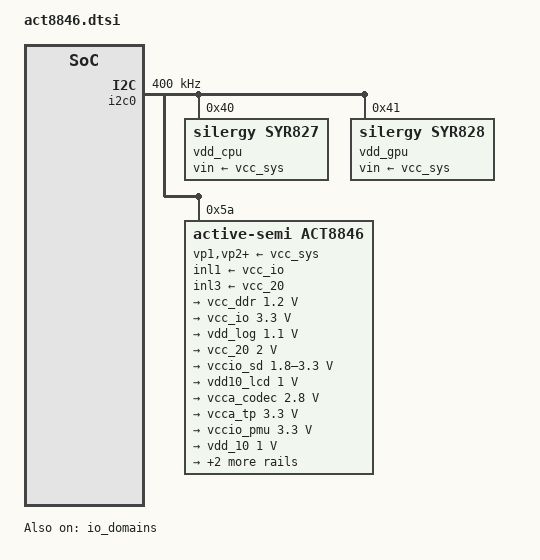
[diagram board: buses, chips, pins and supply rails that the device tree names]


&i2c0 {
        clock-frequency = <400000>;
        status = "okay";

        vdd_cpu: syr827@40 {
                compatible = "silergy,syr827";
                fcs,suspend-voltage-selector = <1>;
                reg = <0x40>;
                regulator-name = "vdd_cpu";
                regulator-min-microvolt = <850000>;
                regulator-max-microvolt = <1350000>;
                regulator-always-on;
                regulator-boot-on;
                regulator-enable-ramp-delay = <300>;
                regulator-ramp-delay = <8000>;
                vin-supply = <&vcc_sys>;
                regulator-state-mem {
                        regulator-off-in-suspend;
                };
        };

        vdd_gpu: syr828@41 {
                compatible = "silergy,syr828";
                fcs,suspend-voltage-selector = <1>;
                reg = <0x41>;
                regulator-name = "vdd_gpu";
                regulator-min-microvolt = <850000>;
                regulator-max-microvolt = <1350000>;
                regulator-always-on;
                regulator-ramp-delay = <6000>;
                vin-supply = <&vcc_sys>;
                regulator-state-mem {
                        regulator-off-in-suspend;
                };
        };
        act8846: act8846@5a {
                compatible = "active-semi,act8846";
                reg = <0x5a>;
                status = "okay";
                pinctrl-names = "default";
                //pinctrl-0 = <&pmic_vsel>, <&pmic_sleep>, <&pwr_hold>;
                pinctrl-0 = <&pmic_vsel>, <&pwr_hold>;
                system-power-controller;

                vp1-supply = <&vcc_sys>;
                vp2-supply = <&vcc_sys>;
                vp3-supply = <&vcc_sys>;
                vp4-supply = <&vcc_sys>;
                inl1-supply = <&vcc_io>;
                inl2-supply = <&vcc_sys>;
                inl3-supply = <&vcc_20>;

                regulators {
                        vcc_ddr: REG1 {
                                regulator-name = "VCC_DDR";
                                regulator-min-microvolt = <1200000>;
                                regulator-max-microvolt = <1200000>;
                                regulator-always-on;
                        };

                        vcc_io: REG2 {
                                regulator-name = "VCC_IO";
                                regulator-min-microvolt = <3300000>;
                                regulator-max-microvolt = <3300000>;
                                regulator-always-on;
                        };

                        vdd_log: REG3 {
                                regulator-name = "VDD_LOG";
                                regulator-min-microvolt = <1100000>;
                                regulator-max-microvolt = <1100000>;
                                regulator-always-on;
                        };

                        vcc_20: REG4 {
                                regulator-name = "VCC_20";
                                regulator-min-microvolt = <2000000>;
                                regulator-max-microvolt = <2000000>;
                                regulator-always-on;
                        };

                        vccio_sd: REG5 {
                                regulator-name = "VCCIO_SD";
                                regulator-min-microvolt = <1800000>;
                                regulator-max-microvolt = <3300000>;
                                regulator-always-on;
                        };

                        vdd10_lcd: REG6 {
                                regulator-name = "VDD10_LCD";
                                regulator-min-microvolt = <1000000>;
                                regulator-max-microvolt = <1000000>;
                                regulator-always-on;
                        };

                        vcca_codec: REG7 {
                                regulator-name = "VCCA_CODEC";
                                //regulator-min-microvolt = <1800000>;
                                //regulator-max-microvolt = <1800000>;
                                regulator-min-microvolt = <2800000>;
                                regulator-max-microvolt = <2800000>;
                                //regulator-max-microvolt = <3300000>;
                        };
                        vcca_tp: REG8 {
                                regulator-name = "VCCA_TP";
                                regulator-min-microvolt = <3300000>;
                                regulator-max-microvolt = <3300000>;
                                regulator-always-on;
                        };

                        vccio_pmu: REG9 {
                                regulator-name = "VCCIO_PMU";
                                regulator-min-microvolt = <3300000>;
                                regulator-max-microvolt = <3300000>;
                                regulator-always-on;
                        };

                        vdd_10: REG10 {
                                regulator-name = "VDD_10";
                                regulator-min-microvolt = <1000000>;
                                regulator-max-microvolt = <1000000>;
                                regulator-always-on;
                        };

                        vcc_18: REG11 {
                                regulator-name = "VCC_18";
                                regulator-min-microvolt = <1800000>;
                                regulator-max-microvolt = <1800000>;
                                regulator-always-on;
                        };

                        vcc18_lcd: REG12 {
                                regulator-name = "VCC18_LCD";
                                regulator-min-microvolt = <1800000>;
                                regulator-max-microvolt = <1800000>;
                                regulator-always-on;
                        };
                };
        };
};


&pinctrl {
        act8846 {
                pmic_vsel: pmic-vsel {
                        rockchip,pins = <7 10 RK_FUNC_GPIO &pcfg_output_low>;
                };
                pwr_hold: pwr-hold {
                        rockchip,pins = <0 10 RK_FUNC_GPIO &pcfg_output_high>;
                };
        };
};


&io_domains {
	status = "okay";
	sdcard-supply = <&vccio_sd>;
	wifi-supply = <&vcc_18>;
        audio-supply = <&vcca_codec>;
	bb-supply = <&vcc_io>;
	dvp-supply = <&vcc18_dvp>;
	flash0-supply = <&vcc_flash>;
        gpio30-supply = <&vccio_pmu>;
        gpio1830-supply = <&vcc_io>;
};
